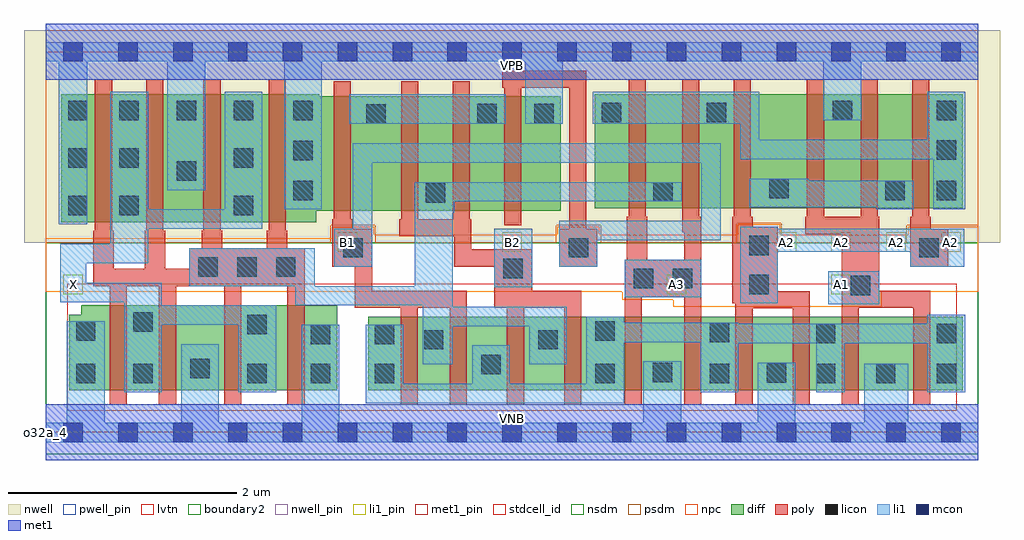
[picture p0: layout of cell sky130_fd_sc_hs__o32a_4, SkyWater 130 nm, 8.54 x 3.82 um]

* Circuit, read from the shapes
.subckt sky130_fd_sc_hs__o32a_4 A1 A2 A3 B1 B2 VGND VNB VPB VPWR X
XM1 X n1 VGND VNB sky130_fd_pr__nfet_01v8_lvt w=0.74 l=0.15 m=4
XM2 n1 B1 n2 VNB sky130_fd_pr__nfet_01v8_lvt w=0.64 l=0.15 m=2
XM3 n1 B2 n2 VNB sky130_fd_pr__nfet_01v8_lvt w=0.64 l=0.15 m=2
XM4 VGND A3 n2 VNB sky130_fd_pr__nfet_01v8_lvt w=0.64 l=0.15 m=2
XM5 VGND A2 n2 VNB sky130_fd_pr__nfet_01v8_lvt w=0.64 l=0.15 m=2
XM6 VGND A1 n2 VNB sky130_fd_pr__nfet_01v8_lvt w=0.64 l=0.15 m=2
XM7 X n1 VPWR VPB sky130_fd_pr__pfet_01v8 w=1.12 l=0.15 m=4
XM8 n3 B1 VPWR VPB sky130_fd_pr__pfet_01v8 w=1 l=0.15 m=2
XM9 n1 B2 n3 VPB sky130_fd_pr__pfet_01v8 w=1 l=0.15 m=2
XM10 n1 A3 n4 VPB sky130_fd_pr__pfet_01v8 w=1 l=0.15 m=2
XM11 n5 A2 n4 VPB sky130_fd_pr__pfet_01v8 w=1 l=0.15 m=2
XM12 VPWR A1 n5 VPB sky130_fd_pr__pfet_01v8 w=1 l=0.15 m=2
.ends

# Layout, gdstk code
import gdstk
lib = gdstk.Library(unit=1e-6, precision=1e-09)
def R(c, l, rs):  # rectangles x0, y0, x1, y1
    for r in rs: c.add(gdstk.rectangle(r[:2], r[2:], *l))
def A(c, l, x, y, w, h, nx, ny, dx, dy):  # array of equal rectangles
    R(c, l, [(x+i*dx, y+j*dy, x+i*dx+w, y+j*dy+h) for i in range(nx) for j in range(ny)])
def P(c, l, *ps):  # polygons
    for p in ps: c.add(gdstk.Polygon(p, *l))
nwell_pin = (64, 16)
nwell = (64, 20)
diff = (65, 20)
poly = (66, 20)
licon = (66, 44)
li1_pin = (67, 16)
li1 = (67, 20)
mcon = (67, 44)
met1_pin = (68, 16)
met1 = (68, 20)
stdcell_id = (81, 4)
nsdm = (93, 44)
psdm = (94, 20)
npc = (95, 20)
pwell_pin = (122, 16)
lvtn = (125, 44)
boundary2 = (236, 0)

sky130_fd_sc_hs__o32a_4 = lib.new_cell('sky130_fd_sc_hs__o32a_4')
R(sky130_fd_sc_hs__o32a_4, nwell_pin, [(0,3.085,8.16,3.33)])
R(sky130_fd_sc_hs__o32a_4, nwell, [(-0.19,1.66,8.35,3.52)])
R(sky130_fd_sc_hs__o32a_4, diff, [(2.82,0.37,8.025,1.01), (4.805,1.96,8.025,2.96)])
P(sky130_fd_sc_hs__o32a_4, diff, [(2.55,1.11),(0.31,1.11),(0.31,1.03),(0.205,1.03),(0.205,0.37),(2.55,0.37)],
  [(4.505,2.94),(2.395,2.94),(2.395,2.96),(0.135,2.96),(0.135,1.84),(2.365,1.84),(2.365,1.94),(4.505,1.94)])
P(sky130_fd_sc_hs__o32a_4, poly, [(7.895,1.78),(7.745,1.78),(7.745,1.885),(7.73,1.885),(7.73,3.09),(7.58,3.09),(7.58,1.885),(7.565,1.885),(7.565,1.45),(7.895,1.45)],
  [(7.74,1.24),(7.295,1.24),(7.295,1.885),(7.28,1.885),(7.28,3.09),(7.13,3.09),(7.13,1.885),(6.81,1.885),(6.81,3.09),(6.66,3.09),(6.66,1.885),(6.645,1.885),(6.645,1.735),(6.965,1.735),(6.965,0.24),(7.115,0.24),(7.115,1.09),(7.59,1.09),(7.59,0.24),(7.74,0.24)],
  [(6.685,1.235),(6.405,1.235),(6.405,1.8),(6.185,1.8),(6.185,1.885),(6.17,1.885),(6.17,3.09),(6.02,3.09),(6.02,1.885),(6.005,1.885),(6.005,1.13),(6.035,1.13),(6.035,0.24),(6.185,0.24),(6.185,1.085),(6.535,1.085),(6.535,0.24),(6.685,0.24)],
  [(5.735,1.885),(5.72,1.885),(5.72,3.09),(5.57,3.09),(5.57,1.75),(5.585,1.75),(5.585,1.51),(5.265,1.51),(5.265,1.885),(5.25,1.885),(5.25,3.09),(5.1,3.09),(5.1,1.885),(5.085,1.885),(5.085,1.51),(5.065,1.51),(5.065,0.24),(5.215,0.24),(5.215,1.18),(5.585,1.18),(5.585,0.24),(5.735,0.24)],
  [(4.825,1.78),(4.73,1.78),(4.73,3.165),(3.995,3.165),(3.995,3.015),(4.01,3.015),(4.01,1.81),(4.16,1.81),(4.16,3.015),(4.58,3.015),(4.58,1.78),(4.495,1.78),(4.495,1.45),(4.825,1.45)],
  [(4.685,1.24),(4.255,1.24),(4.255,1.6),(3.725,1.6),(3.725,1.865),(3.71,1.865),(3.71,3.07),(3.56,3.07),(3.56,1.865),(3.26,1.865),(3.26,3.07),(3.11,3.07),(3.11,1.865),(3.095,1.865),(3.095,1.715),(3.575,1.715),(3.575,1.45),(3.925,1.45),(3.925,1.09),(4.035,1.09),(4.035,0.24),(4.185,0.24),(4.185,1.09),(4.535,1.09),(4.535,0.24),(4.685,0.24)],
  [(3.685,1.24),(2.855,1.24),(2.855,1.78),(2.685,1.78),(2.685,1.865),(2.67,1.865),(2.67,3.07),(2.52,3.07),(2.52,1.865),(2.505,1.865),(2.505,1.45),(2.705,1.45),(2.705,1.09),(3.105,1.09),(3.105,0.24),(3.255,0.24),(3.255,1.09),(3.535,1.09),(3.535,0.24),(3.685,0.24)],
  [(2.265,1.61),(2.115,1.61),(2.115,1.765),(2.1,1.765),(2.1,3.09),(1.95,3.09),(1.95,1.765),(1.935,1.765),(1.935,1.61),(1.545,1.61),(1.545,1.765),(1.53,1.765),(1.53,3.09),(1.38,3.09),(1.38,1.765),(1.365,1.765),(1.365,1.61),(1.255,1.61),(1.255,1.43),(1.045,1.43),(1.045,1.765),(1.03,1.765),(1.03,3.09),(0.88,3.09),(0.88,1.765),(0.865,1.765),(0.865,1.43),(0.595,1.43),(0.595,1.765),(0.58,1.765),(0.58,3.09),(0.43,3.09),(0.43,1.765),(0.415,1.765),(0.415,1.28),(0.56,1.28),(0.56,0.24),(0.71,0.24),(0.71,1.28),(0.99,1.28),(0.99,0.24),(1.14,0.24),(1.14,1.28),(1.56,1.28),(1.56,0.24),(1.71,0.24),(1.71,1.28),(2.115,1.28),(2.115,0.24),(2.265,0.24)])
A(sky130_fd_sc_hs__o32a_4, licon, 1.335, 1.36, 0.17, 0.17, 3, 1, 0.34, 0)
A(sky130_fd_sc_hs__o32a_4, licon, 0.195, 1.9, 0.17, 0.17, 1, 3, 0, 0.415)
A(sky130_fd_sc_hs__o32a_4, licon, 2.165, 2.03, 0.17, 0.17, 1, 3, 0, 0.35)
A(sky130_fd_sc_hs__o32a_4, licon, 0.645, 2.73, 0.17, 0.17, 3, 1, 0.5, 0)
R(sky130_fd_sc_hs__o32a_4, licon, [(0.265,0.43,0.435,0.6), (0.765,0.43,0.935,0.6), (1.765,0.43,1.935,0.6), (2.32,0.43,2.49,0.6), (2.88,0.43,3.05,0.6), (4.81,0.43,4.98,0.6), (5.81,0.43,5.98,0.6), (6.74,0.43,6.91,0.6), (7.265,0.43,7.435,0.6), (7.795,0.43,7.965,0.6), (6.31,0.435,6.48,0.605), (5.31,0.44,5.48,0.61), (1.265,0.475,1.435,0.645), (3.81,0.51,3.98,0.68), (3.31,0.725,3.48,0.895), (4.31,0.725,4.48,0.895), (2.32,0.77,2.49,0.94), (2.88,0.77,3.05,0.94), (6.74,0.78,6.91,0.95), (7.795,0.78,7.965,0.95), (5.81,0.79,5.98,0.96), (0.265,0.8,0.435,0.97), (4.81,0.8,4.98,0.97), (1.765,0.86,1.935,1.03), (0.765,0.88,0.935,1.05), (7.045,1.2,7.215,1.37), (6.155,1.21,6.325,1.38), (5.145,1.26,5.315,1.43), (5.485,1.26,5.655,1.43), (4.005,1.35,4.175,1.52), (2.605,1.53,2.775,1.7), (4.575,1.53,4.745,1.7), (7.645,1.53,7.815,1.7), (6.155,1.55,6.325,1.72), (0.645,1.9,0.815,2.07), (1.645,1.9,1.815,2.07), (3.325,2.01,3.495,2.18), (5.315,2.02,5.485,2.19), (7.345,2.03,7.515,2.2), (7.795,2.03,7.965,2.2), (6.33,2.05,6.5,2.22), (1.145,2.2,1.315,2.37), (0.645,2.315,0.815,2.485), (1.645,2.315,1.815,2.485), (7.795,2.385,7.965,2.555), (2.805,2.7,2.975,2.87), (3.775,2.705,3.945,2.875), (4.275,2.705,4.445,2.875), (4.865,2.715,5.035,2.885), (5.785,2.715,5.955,2.885), (6.885,2.73,7.055,2.9), (7.795,2.73,7.965,2.9)])
A(sky130_fd_sc_hs__o32a_4, li1_pin, 6.395, 1.58, 0.17, 0.17, 4, 1, 0.48, 0)
R(sky130_fd_sc_hs__o32a_4, li1_pin, [(0.155,1.21,0.325,1.38), (5.435,1.21,5.605,1.38), (6.875,1.21,7.045,1.38), (2.555,1.58,2.725,1.75), (3.995,1.58,4.165,1.75)])
R(sky130_fd_sc_hs__o32a_4, li1, [(6.845,1.12,7.295,1.41), (5.065,1.18,5.735,1.51), (3.925,1.27,4.255,1.78), (2.655,2.7,4.025,2.96)])
P(sky130_fd_sc_hs__o32a_4, li1, [(4.195,2.7),(4.195,3.245),(2.415,3.245),(2.415,1.95),(2.085,1.95),(2.085,3.245),(1.395,3.245),(1.395,2.12),(1.065,2.12),(1.065,3.245),(0.365,3.245),(0.365,1.82),(0.115,1.82),(0.115,3.245),(0,3.245),(0,3.415),(8.16,3.415),(8.16,3.245),(7.135,3.245),(7.135,2.73),(6.805,2.73),(6.805,3.245),(4.525,3.245),(4.525,2.7)],
  [(0.185,0.085),(0.185,0.97),(0.515,0.97),(0.515,0.085),(1.185,0.085),(1.185,0.77),(1.515,0.77),(1.515,0.085),(2.24,0.085),(2.24,0.94),(2.57,0.94),(2.57,0.085),(5.23,0.085),(5.23,0.62),(5.56,0.62),(5.56,0.085),(6.23,0.085),(6.23,0.61),(6.56,0.61),(6.56,0.085),(7.16,0.085),(7.16,0.6),(7.545,0.6),(7.545,0.085),(8.16,0.085),(8.16,-0.085),(0,-0.085),(0,0.085)],
  [(6.075,2.39),(6.075,2.7),(4.785,2.7),(4.785,2.98),(6.245,2.98),(6.245,2.56),(7.715,2.56),(7.715,2.98),(8.045,2.98),(8.045,1.95),(7.765,1.95),(7.765,2.39)],
  [(5.905,2.53),(5.905,1.68),(4.825,1.68),(4.825,1.45),(4.495,1.45),(4.495,1.85),(5.735,1.85),(5.735,2.36),(2.855,2.36),(2.855,1.45),(2.525,1.45),(2.525,1.78),(2.685,1.78),(2.685,2.53)],
  [(7.565,1.45),(7.565,1.58),(6.405,1.58),(6.405,1.13),(6.075,1.13),(6.075,1.8),(6.405,1.8),(6.405,1.78),(8.035,1.78),(8.035,1.45)],
  [(4.23,0.93),(3.56,0.93),(3.56,0.595),(3.3,0.595),(3.3,1.11),(2.185,1.11),(2.185,1.28),(1.255,1.28),(1.255,1.61),(2.355,1.61),(2.355,1.28),(3.23,1.28),(3.23,2.19),(5.565,2.19),(5.565,2.02),(3.575,2.02),(3.575,1.92),(3.56,1.92),(3.56,1.1),(4.56,1.1),(4.56,0.595),(4.23,0.595)],
  [(0.685,0.35),(0.685,1.14),(0.125,1.14),(0.125,1.65),(0.565,1.65),(0.565,2.98),(0.895,2.98),(0.895,1.95),(1.565,1.95),(1.565,2.98),(1.895,2.98),(1.895,1.78),(0.895,1.78),(0.895,1.48),(0.355,1.48),(0.355,1.31),(1.015,1.31),(1.015,1.11),(2.015,1.11),(2.015,0.35),(1.685,0.35),(1.685,0.94),(1.015,0.94),(1.015,0.35)],
  [(7.265,1.95),(7.265,1.97),(6.155,1.97),(6.155,2.22),(6.675,2.22),(6.675,2.2),(7.595,2.2),(7.595,1.95)],
  [(3.73,0.425),(3.73,0.76),(4.06,0.76),(4.06,0.425),(4.73,0.425),(4.73,1.01),(5.06,1.01),(5.06,0.96),(6.06,0.96),(6.06,0.95),(7.715,0.95),(7.715,1.03),(8.045,1.03),(8.045,0.35),(7.715,0.35),(7.715,0.78),(6.99,0.78),(6.99,0.35),(6.74,0.35),(6.74,0.78),(6.06,0.78),(6.06,0.35),(5.73,0.35),(5.73,0.79),(5.06,0.79),(5.06,0.255),(2.8,0.255),(2.8,0.94),(3.13,0.94),(3.13,0.425)])
A(sky130_fd_sc_hs__o32a_4, mcon, 0.155, -0.085, 0.17, 0.17, 17, 2, 0.48, 3.33)
R(sky130_fd_sc_hs__o32a_4, met1_pin, [(0,0,8.16,0.245), (0,3.085,8.16,3.33)])
R(sky130_fd_sc_hs__o32a_4, met1, [(0,-0.245,8.16,0.245), (0,3.085,8.16,3.575)])
R(sky130_fd_sc_hs__o32a_4, stdcell_id, [(0,0,8.16,3.33)])
R(sky130_fd_sc_hs__o32a_4, nsdm, [(0,-0.19,8.16,1.66)])
P(sky130_fd_sc_hs__o32a_4, psdm, [(8.16,3.52),(0,3.52),(0,1.66),(2.495,1.66),(2.495,1.81),(2.885,1.81),(2.885,1.66),(4.465,1.66),(4.465,1.81),(4.855,1.81),(4.855,1.66),(6.045,1.66),(6.045,1.83),(6.435,1.83),(6.435,1.66),(7.535,1.66),(7.535,1.81),(8.16,1.81)])
P(sky130_fd_sc_hs__o32a_4, npc, [(8.16,1.8),(7.545,1.8),(7.545,1.73),(6.425,1.73),(6.425,1.82),(6.055,1.82),(6.055,1.73),(4.845,1.73),(4.845,1.8),(4.475,1.8),(4.475,1.73),(2.875,1.73),(2.875,1.8),(2.505,1.8),(2.505,1.7),(0,1.7),(0,1.23),(5.045,1.23),(5.045,1.16),(5.49,1.16),(5.49,1.1),(7.315,1.1),(7.315,1.23),(8.16,1.23)])
R(sky130_fd_sc_hs__o32a_4, pwell_pin, [(0,0,8.16,0.245)])
R(sky130_fd_sc_hs__o32a_4, lvtn, [(0.19,0.19,7.97,1.3)])
R(sky130_fd_sc_hs__o32a_4, boundary2, [(0,0,8.16,3.33)])
sky130_fd_sc_hs__o32a_4.add(gdstk.Label('o32a_4', (0,0), layer=83, texttype=44))
sky130_fd_sc_hs__o32a_4.add(gdstk.Label('VNB', (4.08,0.123), layer=64, texttype=59))
sky130_fd_sc_hs__o32a_4.add(gdstk.Label('VPB', (4.08,3.208), layer=64, texttype=5))
sky130_fd_sc_hs__o32a_4.add(gdstk.Label('VPWR', (4.08,3.208), layer=68, texttype=5))
sky130_fd_sc_hs__o32a_4.add(gdstk.Label('VGND', (4.08,0.123), layer=68, texttype=5))
sky130_fd_sc_hs__o32a_4.add(gdstk.Label('B2', (4.08,1.665), layer=67, texttype=5))
sky130_fd_sc_hs__o32a_4.add(gdstk.Label('A3', (5.52,1.295), layer=67, texttype=5))
sky130_fd_sc_hs__o32a_4.add(gdstk.Label('A2', (6.48,1.665), layer=67, texttype=5))
sky130_fd_sc_hs__o32a_4.add(gdstk.Label('A2', (6.96,1.665), layer=67, texttype=5))
sky130_fd_sc_hs__o32a_4.add(gdstk.Label('A2', (7.44,1.665), layer=67, texttype=5))
sky130_fd_sc_hs__o32a_4.add(gdstk.Label('A2', (7.92,1.665), layer=67, texttype=5))
sky130_fd_sc_hs__o32a_4.add(gdstk.Label('A1', (6.96,1.295), layer=67, texttype=5))
sky130_fd_sc_hs__o32a_4.add(gdstk.Label('X', (0.24,1.295), layer=67, texttype=5))
sky130_fd_sc_hs__o32a_4.add(gdstk.Label('B1', (2.64,1.665), layer=67, texttype=5))

lib.write_gds('sky130_fd_sc_hs__o32a_4.gds')
